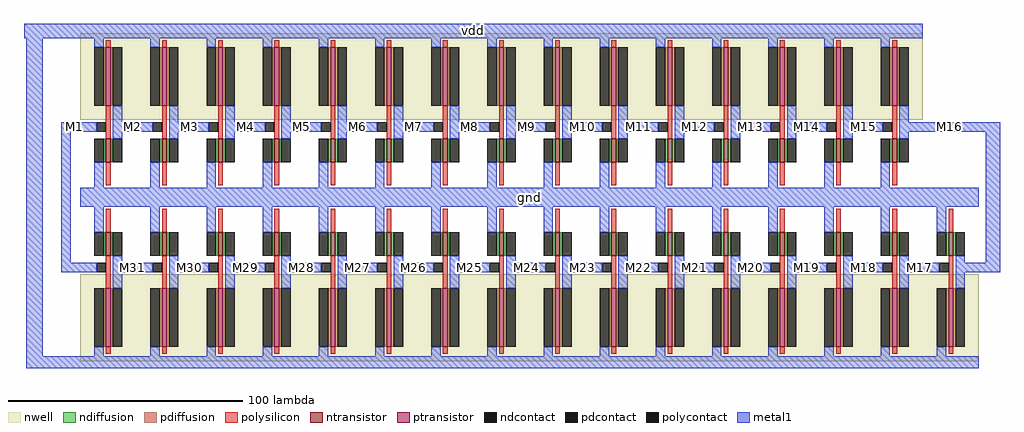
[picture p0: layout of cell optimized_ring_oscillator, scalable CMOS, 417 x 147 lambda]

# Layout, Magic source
magic
tech scmos
<< metal1 >>
rect -24 68 360 74
rect -23 -68 -16 68
rect -8 28 3 32
rect 14 28 31 32
rect 38 28 55 32
rect 62 28 79 32
rect 86 28 103 32
rect 110 28 127 32
rect 134 28 151 32
rect 158 28 175 32
rect 182 28 199 32
rect 206 28 223 32
rect 230 28 247 32
rect 254 28 271 32
rect 278 28 295 32
rect 302 28 319 32
rect 326 28 343 32
rect 360 28 393 32
rect -8 -28 -4 28
rect 0 -4 384 4
rect 387 -28 393 28
rect -8 -32 7 -28
rect 14 -32 31 -28
rect 38 -32 55 -28
rect 62 -32 79 -28
rect 86 -32 103 -28
rect 110 -32 127 -28
rect 134 -32 151 -28
rect 158 -32 175 -28
rect 182 -32 199 -28
rect 206 -32 223 -28
rect 230 -32 247 -28
rect 254 -32 271 -28
rect 278 -32 295 -28
rect 302 -32 319 -28
rect 326 -32 343 -28
rect 350 -32 367 -28
rect 374 -32 393 -28
rect -23 -73 384 -68
use inverter_wo_label_Q5  inverter_wo_label_Q5_0
array 0 14 24 0 0 72
transform 1 0 0 0 1 33
box 0 -33 24 39
use inverter_wo_label_Q5  inverter_wo_label_Q5_1
array 0 15 24 0 0 -72
transform 1 0 0 0 -1 -33
box 0 -33 24 39
<< labels >>
rlabel metal1 -24 68 360 74 5 vdd
rlabel metal1 0 -4 384 4 1 gnd
rlabel metal1 14 28 31 32 1 M2
rlabel metal1 38 28 55 32 1 M3
rlabel metal1 62 28 79 32 1 M4
rlabel metal1 86 28 103 32 1 M5
rlabel metal1 110 28 127 32 1 M6
rlabel metal1 134 28 151 32 1 M7
rlabel metal1 158 28 175 32 1 M8
rlabel metal1 182 28 199 32 1 M9
rlabel metal1 206 28 223 32 1 M10
rlabel metal1 230 28 247 32 1 M11
rlabel metal1 254 28 271 32 1 M12
rlabel metal1 278 28 295 32 1 M13
rlabel metal1 302 28 319 32 1 M14
rlabel metal1 326 28 343 32 1 M15
rlabel metal1 326 -32 343 -28 1 M18
rlabel metal1 302 -32 319 -28 1 M19
rlabel metal1 158 -32 175 -28 1 M25
rlabel metal1 134 -32 151 -28 1 M26
rlabel metal1 110 -32 127 -28 1 M27
rlabel metal1 86 -32 103 -28 1 M28
rlabel metal1 62 -32 79 -28 1 M29
rlabel metal1 38 -32 55 -28 1 M30
rlabel metal1 14 -32 31 -28 1 M31
rlabel metal1 350 -32 367 -28 1 M17
rlabel metal1 278 -32 295 -28 1 M20
rlabel metal1 254 -32 271 -28 1 M21
rlabel metal1 230 -32 247 -28 1 M22
rlabel metal1 206 -32 223 -28 1 M23
rlabel metal1 182 -32 199 -28 1 M24
rlabel metal1 -8 28 3 32 1 M1
rlabel space 350 28 393 32 1 M16
<< end >>

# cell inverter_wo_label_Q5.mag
magic
tech scmos
<< nwell >>
rect 0 0 24 37
<< ntransistor >>
rect 11 -18 13 -8
<< ptransistor >>
rect 11 6 13 31
<< ndiffusion >>
rect 10 -18 11 -8
rect 13 -18 14 -8
<< pdiffusion >>
rect 10 6 11 31
rect 13 6 14 31
<< ndcontact >>
rect 6 -18 10 -8
rect 14 -18 18 -8
<< pdcontact >>
rect 6 6 10 31
rect 14 6 18 31
<< polysilicon >>
rect 11 31 13 34
rect 11 -8 13 6
rect 11 -28 13 -18
<< polycontact >>
rect 7 -5 11 -1
<< metal1 >>
rect 0 35 24 39
rect 6 31 10 35
rect 14 -1 18 6
rect 0 -5 7 -1
rect 14 -5 24 -1
rect 14 -8 18 -5
rect 6 -29 10 -18
rect 0 -33 24 -29
<< end >>
